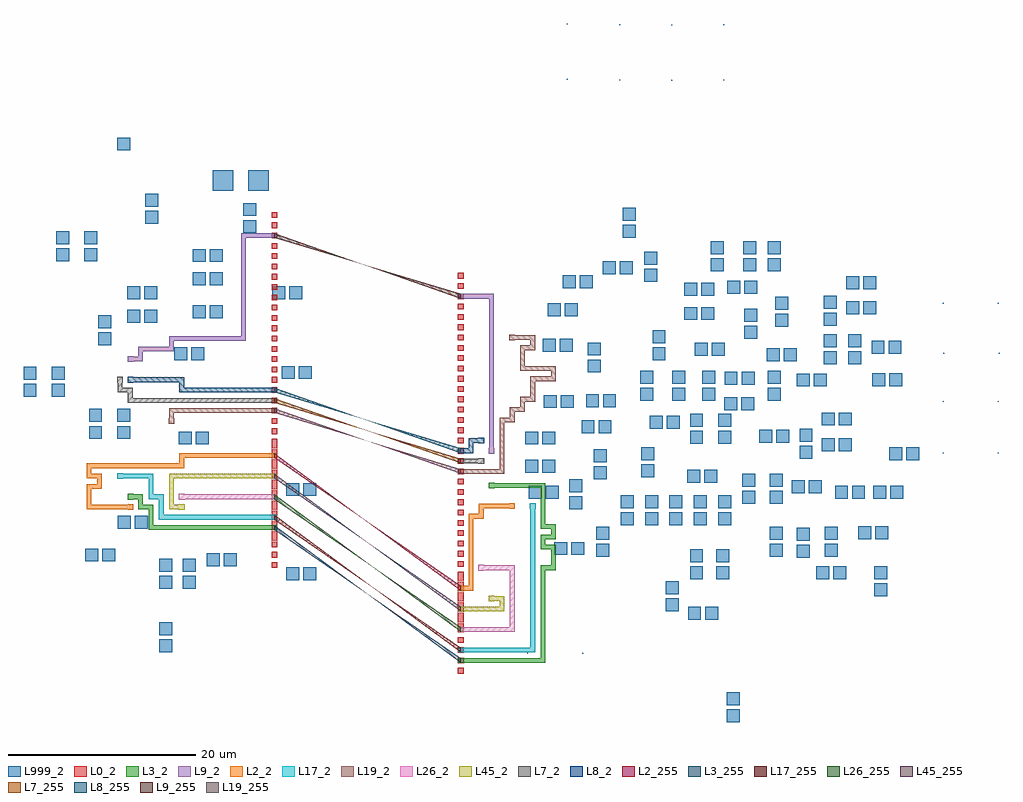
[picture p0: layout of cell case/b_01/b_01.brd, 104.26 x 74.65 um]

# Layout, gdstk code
import gdstk
lib = gdstk.Library(unit=1e-6, precision=2.5e-10)
def R(c, l, rs):  # rectangles x0, y0, x1, y1
    for r in rs: c.add(gdstk.rectangle(r[:2], r[2:], *l))
def A(c, l, x, y, w, h, nx, ny, dx, dy):  # array of equal rectangles
    R(c, l, [(x+i*dx, y+j*dy, x+i*dx+w, y+j*dy+h) for i in range(nx) for j in range(ny)])
def P(c, l, *ps):  # polygons
    for p in ps: c.add(gdstk.Polygon(p, *l))
L0_2 = (0, 2)
L2_2 = (2, 2)
L2_255 = (2, 255)
L3_2 = (3, 2)
L3_255 = (3, 255)
L7_2 = (7, 2)
L7_255 = (7, 255)
L8_2 = (8, 2)
L8_255 = (8, 255)
L9_2 = (9, 2)
L9_255 = (9, 255)
L17_2 = (17, 2)
L17_255 = (17, 255)
L19_2 = (19, 2)
L19_255 = (19, 255)
L26_2 = (26, 2)
L26_255 = (26, 255)
L45_2 = (45, 2)
L45_255 = (45, 255)
L999_2 = (999, 2)

case_b_01_b_01_brd = lib.new_cell('case/b_01/b_01.brd')
R(case_b_01_b_01_brd, L0_2, [(155.712,160.842,156.312,161.442), (155.712,160.842,156.312,161.442), (155.712,160.842,156.312,161.442), (155.712,160.842,156.312,161.442), (155.712,160.842,156.312,161.442), (155.712,161.942,156.312,162.542), (155.712,161.942,156.312,162.542), (155.712,161.942,156.312,162.542), (155.712,161.942,156.312,162.542), (155.712,161.942,156.312,162.542), (155.712,163.042,156.312,163.642), (155.712,163.042,156.312,163.642), (155.712,163.042,156.312,163.642), (155.712,163.042,156.312,163.642), (155.712,163.042,156.312,163.642), (155.712,164.142,156.312,164.742), (155.712,164.142,156.312,164.742), (155.712,164.142,156.312,164.742), (155.712,164.142,156.312,164.742), (155.712,164.142,156.312,164.742), (155.712,165.242,156.312,165.842), (155.712,165.242,156.312,165.842), (155.712,165.242,156.312,165.842), (155.712,165.242,156.312,165.842), (155.712,165.242,156.312,165.842), (155.712,165.635,156.312,166.235), (155.712,165.635,156.312,166.235), (155.712,165.635,156.312,166.235), (155.712,165.635,156.312,166.235), (155.712,166.342,156.312,166.942), (155.712,166.342,156.312,166.942), (155.712,166.342,156.312,166.942), (155.712,166.342,156.312,166.942), (155.712,166.342,156.312,166.942), (155.712,166.735,156.312,167.335), (155.712,166.735,156.312,167.335), (155.712,166.735,156.312,167.335), (155.712,166.735,156.312,167.335), (155.712,167.442,156.312,168.042), (155.712,167.442,156.312,168.042), (155.712,167.442,156.312,168.042), (155.712,167.442,156.312,168.042), (155.712,167.442,156.312,168.042), (155.712,167.835,156.312,168.435), (155.712,167.835,156.312,168.435), (155.712,167.835,156.312,168.435), (155.712,167.835,156.312,168.435), (155.712,168.542,156.312,169.142), (155.712,168.542,156.312,169.142), (155.712,168.542,156.312,169.142), (155.712,168.542,156.312,169.142), (155.712,168.542,156.312,169.142), (155.712,168.935,156.312,169.535), (155.712,168.935,156.312,169.535), (155.712,168.935,156.312,169.535), (155.712,168.935,156.312,169.535), (155.712,169.642,156.312,170.242), (155.712,169.642,156.312,170.242), (155.712,169.642,156.312,170.242), (155.712,169.642,156.312,170.242), (155.712,169.642,156.312,170.242), (155.712,170.035,156.312,170.635), (155.712,170.035,156.312,170.635), (155.712,170.035,156.312,170.635), (155.712,170.035,156.312,170.635), (155.712,170.742,156.312,171.342), (155.712,170.742,156.312,171.342), (155.712,170.742,156.312,171.342), (155.712,170.742,156.312,171.342), (155.712,170.742,156.312,171.342), (155.712,171.135,156.312,171.735), (155.712,171.135,156.312,171.735), (155.712,171.135,156.312,171.735), (155.712,171.135,156.312,171.735), (135.819,172.123,136.419,172.723), (135.819,172.123,136.419,172.723), (135.819,172.123,136.419,172.723), (135.819,172.123,136.419,172.723), (155.712,172.235,156.312,172.835), (155.712,172.235,156.312,172.835), (155.712,172.235,156.312,172.835), (155.712,172.235,156.312,172.835), (135.819,173.223,136.419,173.823), (135.819,173.223,136.419,173.823), (135.819,173.223,136.419,173.823), (135.819,173.223,136.419,173.823), (155.712,173.335,156.312,173.935), (155.712,173.335,156.312,173.935), (155.712,173.335,156.312,173.935), (155.712,173.335,156.312,173.935), (135.819,174.323,136.419,174.923), (135.819,174.323,136.419,174.923), (135.819,174.323,136.419,174.923), (135.819,174.323,136.419,174.923), (155.712,174.435,156.312,175.035), (155.712,174.435,156.312,175.035), (155.712,174.435,156.312,175.035), (155.712,174.435,156.312,175.035), (135.819,175.031,136.419,175.631), (135.819,175.031,136.419,175.631), (135.819,175.031,136.419,175.631), (135.819,175.031,136.419,175.631), (135.819,175.031,136.419,175.631), (135.819,175.423,136.419,176.023), (135.819,175.423,136.419,176.023), (135.819,175.423,136.419,176.023), (135.819,175.423,136.419,176.023), (155.712,175.535,156.312,176.135), (155.712,175.535,156.312,176.135), (155.712,175.535,156.312,176.135), (155.712,175.535,156.312,176.135), (135.819,176.131,136.419,176.731), (135.819,176.131,136.419,176.731), (135.819,176.131,136.419,176.731), (135.819,176.131,136.419,176.731), (135.819,176.131,136.419,176.731), (135.819,176.523,136.419,177.123), (135.819,176.523,136.419,177.123), (135.819,176.523,136.419,177.123), (135.819,176.523,136.419,177.123), (155.712,176.635,156.312,177.235), (155.712,176.635,156.312,177.235), (155.712,176.635,156.312,177.235), (155.712,176.635,156.312,177.235), (135.819,177.231,136.419,177.831), (135.819,177.231,136.419,177.831), (135.819,177.231,136.419,177.831), (135.819,177.231,136.419,177.831), (135.819,177.231,136.419,177.831), (135.819,177.623,136.419,178.223), (135.819,177.623,136.419,178.223), (135.819,177.623,136.419,178.223), (135.819,177.623,136.419,178.223), (155.712,177.735,156.312,178.335), (155.712,177.735,156.312,178.335), (155.712,177.735,156.312,178.335), (155.712,177.735,156.312,178.335), (135.819,178.331,136.419,178.931), (135.819,178.331,136.419,178.931), (135.819,178.331,136.419,178.931), (135.819,178.331,136.419,178.931), (135.819,178.331,136.419,178.931), (135.819,178.723,136.419,179.323), (135.819,178.723,136.419,179.323), (135.819,178.723,136.419,179.323), (135.819,178.723,136.419,179.323), (155.712,178.835,156.312,179.435), (155.712,178.835,156.312,179.435), (155.712,178.835,156.312,179.435), (155.712,178.835,156.312,179.435), (135.819,179.431,136.419,180.031), (135.819,179.431,136.419,180.031), (135.819,179.431,136.419,180.031), (135.819,179.431,136.419,180.031), (135.819,179.431,136.419,180.031), (135.819,179.823,136.419,180.423), (135.819,179.823,136.419,180.423), (135.819,179.823,136.419,180.423), (135.819,179.823,136.419,180.423), (155.712,179.935,156.312,180.535), (155.712,179.935,156.312,180.535), (155.712,179.935,156.312,180.535), (155.712,179.935,156.312,180.535), (135.819,180.531,136.419,181.131), (135.819,180.531,136.419,181.131), (135.819,180.531,136.419,181.131), (135.819,180.531,136.419,181.131), (135.819,180.531,136.419,181.131), (135.819,180.923,136.419,181.523), (135.819,180.923,136.419,181.523), (135.819,180.923,136.419,181.523), (135.819,180.923,136.419,181.523), (155.712,181.035,156.312,181.635), (155.712,181.035,156.312,181.635), (155.712,181.035,156.312,181.635), (155.712,181.035,156.312,181.635), (135.819,181.631,136.419,182.231), (135.819,181.631,136.419,182.231), (135.819,181.631,136.419,182.231), (135.819,181.631,136.419,182.231), (135.819,181.631,136.419,182.231), (135.819,182.023,136.419,182.623), (135.819,182.023,136.419,182.623), (135.819,182.023,136.419,182.623), (135.819,182.023,136.419,182.623), (155.712,182.135,156.312,182.735), (155.712,182.135,156.312,182.735), (155.712,182.135,156.312,182.735), (155.712,182.135,156.312,182.735), (135.819,182.731,136.419,183.331), (135.819,182.731,136.419,183.331), (135.819,182.731,136.419,183.331), (135.819,182.731,136.419,183.331), (135.819,182.731,136.419,183.331), (135.819,183.123,136.419,183.723), (135.819,183.123,136.419,183.723), (135.819,183.123,136.419,183.723), (135.819,183.123,136.419,183.723), (155.712,183.235,156.312,183.835), (155.712,183.235,156.312,183.835), (155.712,183.235,156.312,183.835), (155.712,183.235,156.312,183.835), (135.819,183.831,136.419,184.431), (135.819,183.831,136.419,184.431), (135.819,183.831,136.419,184.431), (135.819,183.831,136.419,184.431), (135.819,183.831,136.419,184.431), (135.819,184.223,136.419,184.823), (135.819,184.223,136.419,184.823), (135.819,184.223,136.419,184.823), (135.819,184.223,136.419,184.823), (155.712,184.335,156.312,184.935), (155.712,184.335,156.312,184.935), (155.712,184.335,156.312,184.935), (155.712,184.335,156.312,184.935), (135.819,184.931,136.419,185.531), (135.819,184.931,136.419,185.531), (135.819,184.931,136.419,185.531), (135.819,184.931,136.419,185.531), (135.819,184.931,136.419,185.531), (135.819,185.323,136.419,185.923), (135.819,185.323,136.419,185.923), (135.819,185.323,136.419,185.923), (135.819,185.323,136.419,185.923), (155.712,185.435,156.312,186.035), (155.712,185.435,156.312,186.035), (155.712,185.435,156.312,186.035), (155.712,185.435,156.312,186.035), (135.819,186.423,136.419,187.023), (135.819,186.423,136.419,187.023), (135.819,186.423,136.419,187.023), (135.819,186.423,136.419,187.023), (155.712,186.535,156.312,187.135), (155.712,186.535,156.312,187.135), (155.712,186.535,156.312,187.135), (155.712,186.535,156.312,187.135), (135.819,187.523,136.419,188.123), (135.819,187.523,136.419,188.123), (135.819,187.523,136.419,188.123), (135.819,187.523,136.419,188.123), (155.712,187.635,156.312,188.235), (155.712,187.635,156.312,188.235), (155.712,187.635,156.312,188.235), (155.712,187.635,156.312,188.235), (135.819,188.623,136.419,189.223), (135.819,188.623,136.419,189.223), (135.819,188.623,136.419,189.223), (135.819,188.623,136.419,189.223), (155.712,188.735,156.312,189.335), (155.712,188.735,156.312,189.335), (155.712,188.735,156.312,189.335), (155.712,188.735,156.312,189.335), (135.819,189.723,136.419,190.323), (135.819,189.723,136.419,190.323), (135.819,189.723,136.419,190.323), (135.819,189.723,136.419,190.323), (155.712,189.835,156.312,190.435), (155.712,189.835,156.312,190.435), (155.712,189.835,156.312,190.435), (155.712,189.835,156.312,190.435), (135.819,190.823,136.419,191.423), (135.819,190.823,136.419,191.423), (135.819,190.823,136.419,191.423), (135.819,190.823,136.419,191.423), (155.712,190.935,156.312,191.535), (155.712,190.935,156.312,191.535), (155.712,190.935,156.312,191.535), (155.712,190.935,156.312,191.535), (135.819,191.923,136.419,192.523), (135.819,191.923,136.419,192.523), (135.819,191.923,136.419,192.523), (135.819,191.923,136.419,192.523), (155.712,192.035,156.312,192.635), (155.712,192.035,156.312,192.635), (155.712,192.035,156.312,192.635), (155.712,192.035,156.312,192.635), (135.819,193.023,136.419,193.623), (135.819,193.023,136.419,193.623), (135.819,193.023,136.419,193.623), (135.819,193.023,136.419,193.623), (155.712,193.135,156.312,193.735), (155.712,193.135,156.312,193.735), (155.712,193.135,156.312,193.735), (155.712,193.135,156.312,193.735), (135.819,194.123,136.419,194.723), (135.819,194.123,136.419,194.723), (135.819,194.123,136.419,194.723), (135.819,194.123,136.419,194.723), (155.712,194.235,156.312,194.835), (155.712,194.235,156.312,194.835), (155.712,194.235,156.312,194.835), (155.712,194.235,156.312,194.835), (135.819,195.223,136.419,195.823), (135.819,195.223,136.419,195.823), (135.819,195.223,136.419,195.823), (135.819,195.223,136.419,195.823), (155.712,195.335,156.312,195.935), (155.712,195.335,156.312,195.935), (155.712,195.335,156.312,195.935), (155.712,195.335,156.312,195.935), (135.819,196.323,136.419,196.923), (135.819,196.323,136.419,196.923), (135.819,196.323,136.419,196.923), (135.819,196.323,136.419,196.923), (155.712,196.435,156.312,197.035), (155.712,196.435,156.312,197.035), (155.712,196.435,156.312,197.035), (155.712,196.435,156.312,197.035), (135.819,197.423,136.419,198.023), (135.819,197.423,136.419,198.023), (135.819,197.423,136.419,198.023), (135.819,197.423,136.419,198.023), (155.712,197.535,156.312,198.135), (155.712,197.535,156.312,198.135), (155.712,197.535,156.312,198.135), (155.712,197.535,156.312,198.135), (135.819,198.523,136.419,199.123), (135.819,198.523,136.419,199.123), (135.819,198.523,136.419,199.123), (135.819,198.523,136.419,199.123), (155.712,198.635,156.312,199.235), (155.712,198.635,156.312,199.235), (155.712,198.635,156.312,199.235), (155.712,198.635,156.312,199.235), (135.819,199.623,136.419,200.223), (135.819,199.623,136.419,200.223), (135.819,199.623,136.419,200.223), (135.819,199.623,136.419,200.223), (155.712,199.735,156.312,200.335), (155.712,199.735,156.312,200.335), (155.712,199.735,156.312,200.335), (155.712,199.735,156.312,200.335), (135.819,200.723,136.419,201.323), (135.819,200.723,136.419,201.323), (135.819,200.723,136.419,201.323), (135.819,200.723,136.419,201.323), (155.712,200.835,156.312,201.435), (155.712,200.835,156.312,201.435), (155.712,200.835,156.312,201.435), (155.712,200.835,156.312,201.435), (135.819,201.823,136.419,202.423), (135.819,201.823,136.419,202.423), (135.819,201.823,136.419,202.423), (135.819,201.823,136.419,202.423), (155.712,201.935,156.312,202.535), (155.712,201.935,156.312,202.535), (155.712,201.935,156.312,202.535), (155.712,201.935,156.312,202.535), (135.819,202.923,136.419,203.523), (135.819,202.923,136.419,203.523), (135.819,202.923,136.419,203.523), (135.819,202.923,136.419,203.523), (155.712,203.035,156.312,203.635), (155.712,203.035,156.312,203.635), (155.712,203.035,156.312,203.635), (155.712,203.035,156.312,203.635), (135.819,204.023,136.419,204.623), (135.819,204.023,136.419,204.623), (135.819,204.023,136.419,204.623), (135.819,204.023,136.419,204.623), (135.819,205.123,136.419,205.723), (135.819,205.123,136.419,205.723), (135.819,205.123,136.419,205.723), (135.819,205.123,136.419,205.723), (135.819,206.223,136.419,206.823), (135.819,206.223,136.419,206.823), (135.819,206.223,136.419,206.823), (135.819,206.223,136.419,206.823), (135.819,207.323,136.419,207.923), (135.819,207.323,136.419,207.923), (135.819,207.323,136.419,207.923), (135.819,207.323,136.419,207.923), (135.819,208.423,136.419,209.023), (135.819,208.423,136.419,209.023), (135.819,208.423,136.419,209.023), (135.819,208.423,136.419,209.023), (135.819,209.523,136.419,210.123), (135.819,209.523,136.419,210.123), (135.819,209.523,136.419,210.123), (135.819,209.523,136.419,210.123)])
A(case_b_01_b_01_brd, L2_2, 156.862, 169.692, 0.5, 1.6, 1, 7, 0, 1.1)
A(case_b_01_b_01_brd, L2_2, 116.069, 178.381, 1.6, 0.5, 4, 1, 1.1, 0)
A(case_b_01_b_01_brd, L2_2, 157.962, 178.492, 1.6, 0.5, 3, 1, 1.1, 0)
A(case_b_01_b_01_brd, L2_2, 116.069, 182.781, 1.6, 0.5, 9, 1, 1.1, 0)
A(case_b_01_b_01_brd, L2_2, 125.969, 183.881, 1.6, 0.5, 9, 1, 1.1, 0)
R(case_b_01_b_01_brd, L2_2, [(155.762,169.692,157.362,170.192), (156.862,177.392,158.462,177.892), (157.962,177.392,158.462,178.992), (120.419,178.331,121.019,178.931), (116.069,178.381,116.569,179.981), (161.212,178.442,161.812,179.042), (116.069,179.481,116.569,181.081), (116.069,180.581,117.669,181.081), (117.169,180.581,117.669,182.181), (116.069,181.681,117.669,182.181), (116.069,181.681,116.569,183.281), (125.969,182.781,126.469,184.381)])
P(case_b_01_b_01_brd, L2_255, [(156.012,169.692),(156.012,170.192),(136.119,183.881),(136.119,184.381)])
A(case_b_01_b_01_brd, L3_2, 155.762, 161.992, 1.6, 0.5, 8, 1, 1.1, 0)
A(case_b_01_b_01_brd, L3_2, 164.562, 161.992, 0.5, 1.6, 1, 9, 0, 1.1)
A(case_b_01_b_01_brd, L3_2, 164.562, 174.092, 1.6, 0.5, 1, 3, 0, 1.1)
A(case_b_01_b_01_brd, L3_2, 122.669, 176.181, 1.6, 0.5, 12, 1, 1.1, 0)
A(case_b_01_b_01_brd, L3_2, 164.562, 176.292, 0.5, 1.6, 1, 4, 0, 1.1)
A(case_b_01_b_01_brd, L3_2, 159.062, 180.692, 1.6, 0.5, 5, 1, 1.1, 0)
R(case_b_01_b_01_brd, L3_2, [(164.562,171.892,166.162,172.392), (165.662,171.892,166.162,173.492), (165.662,172.992,166.162,174.592), (164.562,174.092,165.062,175.692), (165.662,175.192,166.162,176.792), (122.669,176.181,123.169,177.781), (122.669,177.281,123.169,178.881), (121.569,178.381,123.169,178.881), (121.569,178.381,122.069,179.981), (120.419,179.431,121.019,180.031), (120.469,179.481,122.069,179.981), (159.012,180.642,159.612,181.242)])
P(case_b_01_b_01_brd, L3_255, [(156.012,161.992),(156.012,162.492),(136.119,176.181),(136.119,176.681)])
A(case_b_01_b_01_brd, L7_2, 120.469, 189.773, 1.6, 0.5, 14, 1, 1.1, 0)
R(case_b_01_b_01_brd, L7_2, [(157.912,183.235,158.512,183.835), (155.762,183.285,157.362,183.785), (156.862,183.285,158.462,183.785), (120.469,189.773,120.969,191.373), (119.369,190.873,120.969,191.373), (119.369,190.873,119.869,192.473), (119.319,191.923,119.919,192.523)])
P(case_b_01_b_01_brd, L7_255, [(156.012,183.285),(156.012,183.785),(136.119,189.773),(136.119,190.273)])
A(case_b_01_b_01_brd, L8_2, 125.969, 190.873, 1.6, 0.5, 9, 1, 1.1, 0)
A(case_b_01_b_01_brd, L8_2, 120.469, 191.973, 1.6, 0.5, 5, 1, 1.1, 0)
R(case_b_01_b_01_brd, L8_2, [(155.762,184.385,157.362,184.885), (156.862,184.385,157.362,185.985), (157.912,185.435,158.512,186.035), (156.862,185.485,158.462,185.985), (125.969,190.873,126.469,192.473), (120.419,191.923,121.019,192.523)])
P(case_b_01_b_01_brd, L8_255, [(156.012,184.385),(156.012,184.885),(136.119,190.873),(136.119,191.373)])
A(case_b_01_b_01_brd, L9_2, 159.062, 184.385, 0.5, 1.6, 1, 15, 0, 1.1)
A(case_b_01_b_01_brd, L9_2, 121.569, 195.273, 1.6, 0.5, 3, 1, 1.1, 0)
A(case_b_01_b_01_brd, L9_2, 124.869, 196.373, 1.6, 0.5, 7, 1, 1.1, 0)
A(case_b_01_b_01_brd, L9_2, 132.569, 196.373, 0.5, 1.6, 1, 10, 0, 1.1)
A(case_b_01_b_01_brd, L9_2, 155.762, 200.885, 1.6, 0.5, 3, 1, 1.1, 0)
A(case_b_01_b_01_brd, L9_2, 132.569, 207.373, 1.6, 0.5, 3, 1, 1.1, 0)
R(case_b_01_b_01_brd, L9_2, [(159.012,184.335,159.612,184.935), (120.419,194.123,121.019,194.723), (120.469,194.173,122.069,194.673), (121.569,194.173,122.069,195.773), (124.869,195.273,125.369,196.873)])
P(case_b_01_b_01_brd, L9_255, [(156.012,200.885),(156.012,201.385),(136.119,207.373),(136.119,207.873)])
A(case_b_01_b_01_brd, L17_2, 155.762, 163.092, 1.6, 0.5, 7, 1, 1.1, 0)
A(case_b_01_b_01_brd, L17_2, 163.462, 163.092, 0.5, 1.6, 1, 14, 0, 1.1)
A(case_b_01_b_01_brd, L17_2, 123.769, 177.281, 1.6, 0.5, 11, 1, 1.1, 0)
A(case_b_01_b_01_brd, L17_2, 119.369, 181.681, 1.6, 0.5, 3, 1, 1.1, 0)
R(case_b_01_b_01_brd, L17_2, [(123.769,177.281,124.269,178.881), (123.769,178.381,124.269,179.981), (163.412,178.442,164.012,179.042), (122.669,179.481,124.269,179.981), (122.669,179.481,123.169,181.081), (122.669,180.581,123.169,182.181), (119.319,181.631,119.919,182.231)])
P(case_b_01_b_01_brd, L17_255, [(156.012,163.092),(156.012,163.592),(136.119,177.281),(136.119,177.781)])
A(case_b_01_b_01_brd, L19_2, 155.762, 182.185, 1.6, 0.5, 4, 1, 1.1, 0)
A(case_b_01_b_01_brd, L19_2, 160.162, 182.185, 0.5, 1.6, 1, 5, 0, 1.1)
A(case_b_01_b_01_brd, L19_2, 124.869, 188.673, 1.6, 0.5, 10, 1, 1.1, 0)
A(case_b_01_b_01_brd, L19_2, 162.362, 193.185, 1.6, 0.5, 3, 1, 1.1, 0)
R(case_b_01_b_01_brd, L19_2, [(124.819,187.523,125.419,188.123), (124.869,187.573,125.369,189.173), (160.162,187.685,161.762,188.185), (161.262,187.685,161.762,189.285), (161.262,188.785,162.862,189.285), (162.362,188.785,162.862,190.385), (162.362,189.885,163.962,190.385), (163.462,189.885,163.962,191.485), (163.462,190.985,163.962,192.585), (163.462,192.085,165.062,192.585), (164.562,192.085,166.162,192.585), (165.662,192.085,166.162,193.685), (162.362,193.185,162.862,194.785), (162.362,194.285,162.862,195.885), (162.362,195.385,163.962,195.885), (163.462,195.385,163.962,196.985), (161.212,196.435,161.812,197.035), (161.262,196.485,162.862,196.985), (162.362,196.485,163.962,196.985)])
P(case_b_01_b_01_brd, L19_255, [(156.012,182.185),(156.012,182.685),(136.119,188.673),(136.119,189.173)])
A(case_b_01_b_01_brd, L26_2, 155.762, 165.292, 1.6, 0.5, 5, 1, 1.1, 0)
A(case_b_01_b_01_brd, L26_2, 161.262, 165.292, 0.5, 1.6, 1, 6, 0, 1.1)
A(case_b_01_b_01_brd, L26_2, 157.962, 171.892, 1.6, 0.5, 3, 1, 1.1, 0)
A(case_b_01_b_01_brd, L26_2, 125.969, 179.481, 1.6, 0.5, 9, 1, 1.1, 0)
R(case_b_01_b_01_brd, L26_2, [(157.912,171.842,158.512,172.442), (125.919,179.431,126.519,180.031)])
P(case_b_01_b_01_brd, L26_255, [(156.012,165.292),(156.012,165.792),(136.119,179.481),(136.119,179.981)])
A(case_b_01_b_01_brd, L45_2, 155.762, 167.492, 1.6, 0.5, 4, 1, 1.1, 0)
A(case_b_01_b_01_brd, L45_2, 124.869, 178.381, 0.5, 1.6, 1, 3, 0, 1.1)
A(case_b_01_b_01_brd, L45_2, 124.869, 181.681, 1.6, 0.5, 10, 1, 1.1, 0)
R(case_b_01_b_01_brd, L45_2, [(160.162,167.492,160.662,169.092), (159.012,168.542,159.612,169.142), (159.062,168.592,160.662,169.092), (125.919,178.331,126.519,178.931), (124.869,178.381,126.469,178.881)])
P(case_b_01_b_01_brd, L45_255, [(156.012,167.492),(156.012,167.992),(136.119,181.681),(136.119,182.181)])
A(case_b_01_b_01_brd, L999_2, 173.11, 176.7, 1.38, 1.38, 5, 1, 2.6, 0)
A(case_b_01_b_01_brd, L999_2, 173.11, 178.519, 1.38, 1.381, 5, 1, 2.6, 0)
R(case_b_01_b_01_brd, L999_2, [(184.419,155.619,185.8,157), (184.419,157.44,185.8,158.82), (163.099,162.952,163.194,163.047), (169.005,162.952,169.1,163.047), (123.809,163.1,125.19,164.48), (123.809,164.919,125.19,166.3), (180.3,166.61,181.68,167.99), (182.119,166.61,183.5,167.99), (177.91,167.5,179.29,168.88), (200.21,169.1,201.59,170.48), (177.91,169.319,179.29,170.7), (123.809,169.9,125.19,171.28), (126.309,169.9,127.69,171.28), (137.4,170.81,138.78,172.19), (139.219,170.81,140.6,172.19), (180.51,170.9,181.89,172.28), (183.31,170.9,184.69,172.28), (194,170.91,195.38,172.29), (195.819,170.91,197.2,172.29), (200.21,170.919,201.59,172.3), (123.809,171.719,125.19,173.1), (126.309,171.719,127.69,173.1), (128.9,172.31,130.28,173.69), (130.719,172.31,132.1,173.69), (180.51,172.719,181.89,174.1), (183.31,172.719,184.69,174.1), (115.9,172.81,117.28,174.19), (117.719,172.81,119.1,174.19), (191.91,173.2,193.29,174.58), (170.51,173.3,171.89,174.68), (189.01,173.3,190.39,174.68), (194.91,173.3,196.29,174.68), (166,173.51,167.38,174.89), (167.819,173.51,169.2,174.89), (191.91,175.019,193.29,176.4), (170.51,175.119,171.89,176.5), (189.01,175.119,190.39,176.5), (194.91,175.119,196.29,176.5), (198.5,175.21,199.88,176.59), (200.319,175.21,201.7,176.59), (119.4,176.31,120.78,177.69), (121.219,176.31,122.6,177.69), (167.61,178.4,168.99,179.78), (186.11,178.98,187.49,180.36), (189.01,179,190.39,180.38), (163.3,179.51,164.68,180.89), (165.119,179.51,166.5,180.89), (196,179.51,197.38,180.89), (197.819,179.51,199.2,180.89), (200.1,179.51,201.48,180.89), (201.919,179.51,203.3,180.89), (137.4,179.81,138.78,181.19), (139.219,179.81,140.6,181.19), (191.4,180.11,192.78,181.49), (193.219,180.11,194.6,181.49), (167.61,180.219,168.99,181.6), (186.11,180.8,187.49,182.18), (189.01,180.819,190.39,182.2), (180.2,181.21,181.58,182.59), (182.019,181.21,183.4,182.59), (170.21,181.6,171.59,182.98), (175.31,181.8,176.69,183.18), (162.9,182.31,164.28,183.69), (164.719,182.31,166.1,183.69), (170.21,183.419,171.59,184.8), (201.8,183.61,203.18,184.99), (203.619,183.61,205,184.99), (175.31,183.619,176.69,185), (192.21,183.8,193.59,185.18), (207.499,184.352,207.594,184.447), (213.405,184.352,213.5,184.447), (194.6,184.61,195.98,185.99), (196.419,184.61,197.8,185.99), (125.9,185.31,127.28,186.69), (127.719,185.31,129.1,186.69), (162.9,185.31,164.28,186.69), (164.719,185.31,166.1,186.69), (180.51,185.4,181.89,186.78), (183.51,185.4,184.89,186.78), (187.9,185.51,189.28,186.89), (189.719,185.51,191.1,186.89), (192.21,185.619,193.59,187), (116.309,185.9,117.69,187.28), (119.309,185.9,120.69,187.28), (168.919,186.5,170.3,187.88), (170.74,186.5,172.12,187.88), (176.2,187.01,177.58,188.39), (178.019,187.01,179.4,188.39), (180.51,187.219,181.89,188.6), (183.51,187.219,184.89,188.6), (194.58,187.34,195.96,188.72), (196.4,187.34,197.78,188.72), (116.309,187.719,117.69,189.1), (119.309,187.719,120.69,189.1), (184.18,188.95,185.56,190.33), (186,188.95,187.38,190.33), (164.9,189.21,166.28,190.59), (166.719,189.21,168.1,190.59), (169.4,189.31,170.78,190.69), (171.219,189.31,172.6,190.69), (207.499,189.852,207.594,189.947), (213.405,189.852,213.5,189.947), (175.21,190,176.59,191.38), (178.61,190,179.99,191.38), (181.81,190,183.19,191.38), (188.81,190,190.19,191.38), (109.309,190.4,110.69,191.78), (112.309,190.4,113.69,191.78), (191.9,191.51,193.28,192.89), (193.719,191.51,195.1,192.89), (199.98,191.54,201.36,192.92), (201.8,191.54,203.18,192.92), (184.2,191.71,185.58,193.09), (186.019,191.71,187.4,193.09), (175.21,191.819,176.59,193.2), (178.61,191.819,179.99,193.2), (181.81,191.819,183.19,193.2), (188.81,191.819,190.19,193.2), (109.309,192.219,110.69,193.6), (112.309,192.219,113.69,193.6), (136.9,192.31,138.28,193.69), (138.719,192.31,140.1,193.69), (169.61,193,170.99,194.38), (194.81,193.9,196.19,195.28), (197.41,193.9,198.79,195.28), (188.7,194.21,190.08,195.59), (190.519,194.21,191.9,195.59), (176.51,194.3,177.89,195.68), (125.4,194.31,126.78,195.69), (127.219,194.31,128.6,195.69), (181,194.81,182.38,196.19), (182.819,194.81,184.2,196.19), (169.61,194.819,170.99,196.2), (207.569,195.002,207.664,195.097), (213.475,195.002,213.57,195.097), (199.9,195.01,201.28,196.39), (201.719,195.01,203.1,196.39), (164.8,195.21,166.18,196.59), (166.619,195.21,168,196.59), (194.81,195.719,196.19,197.1), (197.41,195.719,198.79,197.1), (117.309,195.9,118.69,197.28), (176.51,196.119,177.89,197.5), (186.31,196.6,187.69,197.98), (117.309,197.719,118.69,199.1), (189.61,197.9,190.99,199.28), (194.81,198,196.19,199.38), (120.4,198.31,121.78,199.69), (122.219,198.31,123.6,199.69), (186.31,198.419,187.69,199.8), (179.9,198.61,181.28,199.99), (181.719,198.61,183.1,199.99), (127.4,198.81,128.78,200.19), (129.219,198.81,130.6,200.19), (165.3,199.01,166.68,200.39), (167.119,199.01,168.5,200.39), (197.2,199.21,198.58,200.59), (199.019,199.21,200.4,200.59), (189.61,199.719,190.99,201.1), (194.81,199.819,196.19,201.2), (207.499,200.352,207.594,200.447), (213.405,200.352,213.5,200.447), (120.4,200.81,121.78,202.19), (122.219,200.81,123.6,202.19), (135.9,200.81,137.28,202.19), (137.719,200.81,139.1,202.19), (179.9,201.21,181.28,202.59), (181.719,201.21,183.1,202.59), (184.5,201.41,185.88,202.79), (186.319,201.41,187.7,202.79), (197.2,201.91,198.58,203.29), (199.019,201.91,200.4,203.29), (166.9,202.01,168.28,203.39), (168.719,202.01,170.1,203.39), (127.4,202.31,128.78,203.69), (129.219,202.31,130.6,203.69), (175.61,202.7,176.99,204.08), (171.2,203.51,172.58,204.89), (173.019,203.51,174.4,204.89), (182.71,203.8,184.09,205.18), (186.21,203.8,187.59,205.18), (188.81,203.8,190.19,205.18), (175.61,204.519,176.99,205.9), (127.4,204.81,128.78,206.19), (129.219,204.81,130.6,206.19), (112.809,204.9,114.19,206.28), (115.809,204.9,117.19,206.28), (182.71,205.619,184.09,207), (186.21,205.619,187.59,207), (188.81,205.619,190.19,207), (112.809,206.719,114.19,208.1), (115.809,206.719,117.19,208.1), (173.31,207.4,174.69,208.78), (132.81,207.9,134.19,209.28), (122.309,208.9,123.69,210.28), (173.31,209.219,174.69,210.6), (132.81,209.719,134.19,211.1), (122.309,210.719,123.69,212.1), (129.5,212.4,131.7,214.6), (133.3,212.4,135.5,214.6), (119.309,216.719,120.69,218.1), (178.502,224.169,178.597,224.264), (172.952,224.199,173.047,224.294), (184.052,224.199,184.147,224.294), (167.362,224.269,167.457,224.364), (178.502,230.075,178.597,230.17), (172.952,230.105,173.047,230.2), (184.052,230.105,184.147,230.2), (167.362,230.175,167.457,230.27)])
P(case_b_01_b_01_brd, L999_2, [(159.754,223.9),(159.754,223.9),(159.754,223.9)])

lib.write_gds('case_b_01_b_01.brd.gds')
